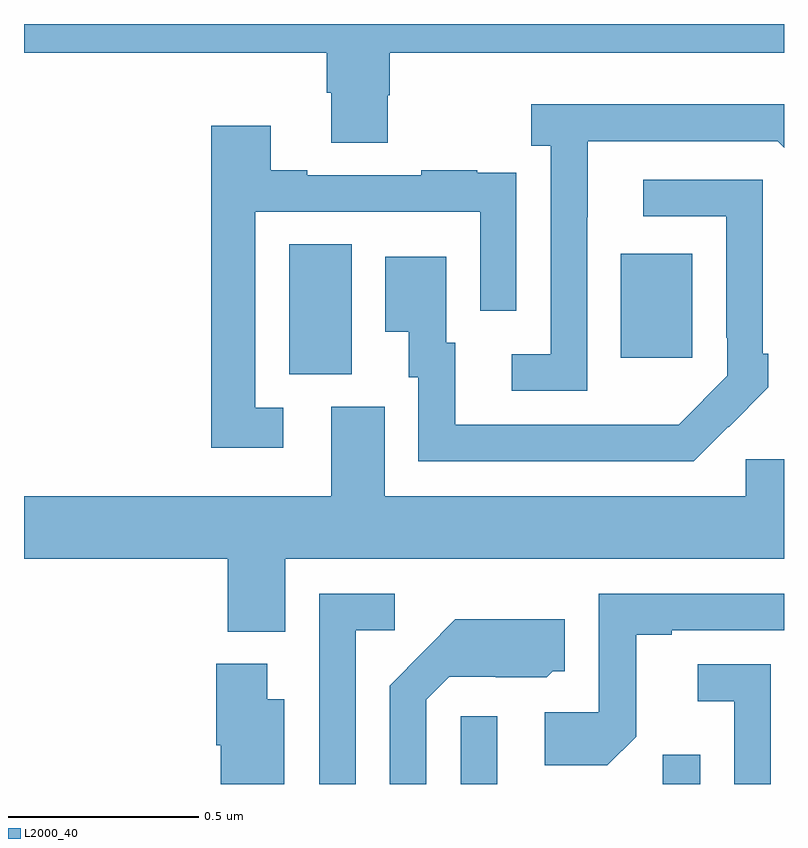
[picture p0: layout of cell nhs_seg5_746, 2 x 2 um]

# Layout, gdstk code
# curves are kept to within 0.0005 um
import gdstk
lib = gdstk.Library(unit=1e-6, precision=1e-09)
def R(c, l, rs):  # rectangles x0, y0, x1, y1
    for r in rs: c.add(gdstk.rectangle(r[:2], r[2:], *l))
def P(c, l, *ps):  # polygons
    for p in ps: c.add(gdstk.Polygon(p, *l))
L2000_40 = (2000, 40)

nhs_seg5_746 = lib.new_cell('nhs_seg5_746')
R(nhs_seg5_746, L2000_40, [(121.149,890.799,121.245,890.977), (121.681,890.799,121.779,890.876), (120.698,891.877,120.862,892.22), (121.571,891.921,121.759,892.195)])
P(nhs_seg5_746, L2000_40, [(120.957,892.611),(120.962,892.611),(120.962,892.724),(122,892.724),(122,892.799),(120,892.799),(120,892.724),(120.797,892.724),(120.797,892.618),(120.809,892.618),(120.809,892.486),(120.957,892.486)],
  [(121.482,892.291),(121.483,892.291),(121.483,892.491),(121.983,892.491),(122,892.474),(122,892.588),(121.335,892.588),(121.335,892.478),(121.386,892.478),(121.386,891.93),(121.284,891.93),(121.284,891.834),(121.482,891.834)],
  [(120.682,891.789),(120.609,891.789),(120.609,892.305),(121.2,892.305),(121.2,892.044),(121.296,892.044),(121.296,892.298),(121.295,892.298),(121.295,892.407),(121.193,892.407),(121.193,892.414),(121.045,892.414),(121.045,892.401),(120.745,892.401),(120.745,892.414),(120.649,892.414),(120.649,892.531),(120.493,892.531),(120.493,891.684),(120.682,891.684)],
  [(121.853,891.739),(121.854,891.738),(121.959,891.843),(121.959,891.931),(121.944,891.931),(121.944,892.389),(121.629,892.389),(121.629,892.293),(121.848,892.293),(121.848,891.973),(121.851,891.973),(121.851,891.873),(121.723,891.745),(121.619,891.745),(121.619,891.744),(121.135,891.744),(121.135,891.96),(121.111,891.96),(121.111,892.186),(120.95,892.186),(120.95,891.989),(121.013,891.989),(121.013,891.87),(121.038,891.87),(121.038,891.648),(121.762,891.648)],
  [(120.688,891.392),(122,891.392),(122,891.654),(121.899,891.654),(121.899,891.556),(120.949,891.556),(120.949,891.792),(120.809,891.792),(120.809,891.556),(120,891.556),(120,891.392),(120.536,891.392),(120.536,891.2),(120.688,891.2)],
  [(121.611,890.924),(121.611,891.192),(121.705,891.192),(121.705,891.204),(122,891.204),(122,891.3),(121.512,891.3),(121.512,890.988),(121.371,890.988),(121.371,890.848),(121.535,890.848)],
  [(120.873,891.204),(120.976,891.204),(120.976,891.3),(120.777,891.3),(120.777,890.799),(120.873,890.799)],
  [(121.059,891.021),(121.119,891.081),(121.242,891.081),(121.242,891.08),(121.376,891.08),(121.392,891.096),(121.423,891.096),(121.423,891.232),(121.135,891.232),(120.963,891.058),(120.963,890.799),(121.059,890.799)],
  [(120.685,891.022),(120.64,891.022),(120.64,891.115),(120.506,891.115),(120.506,890.901),(120.518,890.901),(120.518,890.799),(120.685,890.799)],
  [(121.965,891.114),(121.773,891.114),(121.773,891.017),(121.869,891.017),(121.869,890.799),(121.965,890.799)])

lib.write_gds('nhs_seg5_746.gds')
